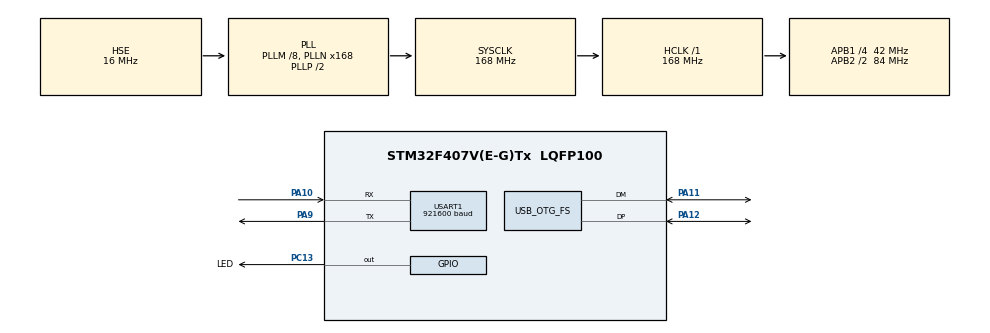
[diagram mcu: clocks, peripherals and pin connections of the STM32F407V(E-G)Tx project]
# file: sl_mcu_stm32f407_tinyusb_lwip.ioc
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Mcu.Family=STM32F4
Mcu.Name=STM32F407V(E-G)Tx
Mcu.Package=LQFP100
NVIC.OTG_FS_IRQn=true\:0\:0\:false\:false\:true\:true\:true\:true
NVIC.PriorityGroup=NVIC_PRIORITYGROUP_4
PA10.Mode=Asynchronous
PA10.Signal=USART1_RX
PA11.Mode=Device_Only
PA11.Signal=USB_OTG_FS_DM
PA12.Mode=Device_Only
PA12.Signal=USB_OTG_FS_DP
PA13.Mode=Trace_Asynchronous_SW
PA13.Signal=SYS_JTMS-SWDIO
PA14.Mode=Trace_Asynchronous_SW
PA14.Signal=SYS_JTCK-SWCLK
PA9.Mode=Asynchronous
PA9.Signal=USART1_TX
PB3.Mode=Trace_Asynchronous_SW
PB3.Signal=SYS_JTDO-SWO
PC13-ANTI_TAMP.GPIO_Label=LED
PC13-ANTI_TAMP.GPIO_ModeDefaultOutputPP=GPIO_MODE_OUTPUT_OD
PC13-ANTI_TAMP.GPIO_PuPd=GPIO_NOPULL
PC13-ANTI_TAMP.PinState=GPIO_PIN_SET
PC13-ANTI_TAMP.Signal=GPIO_Output
PH0-OSC_IN.Mode=HSE-External-Oscillator
PH0-OSC_IN.Signal=RCC_OSC_IN
PH1-OSC_OUT.Mode=HSE-External-Oscillator
PH1-OSC_OUT.Signal=RCC_OSC_OUT
ProjectManager.HeapSize=0x200
ProjectManager.StackSize=0x400
ProjectManager.TargetToolchain=STM32CubeIDE
RCC.48MHZClocksFreq_Value=48000000
RCC.AHBFreq_Value=168000000
RCC.APB1CLKDivider=RCC_HCLK_DIV4
RCC.APB1Freq_Value=42000000
RCC.APB1TimFreq_Value=84000000
RCC.APB2CLKDivider=RCC_HCLK_DIV2
RCC.APB2Freq_Value=84000000
RCC.APB2TimFreq_Value=168000000
RCC.CortexFreq_Value=168000000
RCC.HCLKFreq_Value=168000000
RCC.HSE_VALUE=16000000
RCC.HSI_VALUE=16000000
RCC.LSE_VALUE=32768
RCC.PLLM=8
RCC.PLLN=168
RCC.PLLQ=7
RCC.SYSCLKFreq_VALUE=168000000
RCC.SYSCLKSource=RCC_SYSCLKSOURCE_PLLCLK
RCC.VCOOutputFreq_Value=336000000
USART1.BaudRate=921600
USART1.OverSampling=UART_OVERSAMPLING_8
USART1.VirtualMode=VM_ASYNC
USB_OTG_FS.VirtualMode=Device_Only
board=custom

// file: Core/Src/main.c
/* USER CODE BEGIN Header */
/**
 ******************************************************************************
 * @file           : main.c
 * @brief          : Main program body
 ******************************************************************************
 * @attention
 *
 * Copyright (c) 2026 STM32World <lth@stm32world.com>
 * All rights reserved.
 *
 * This software is licensed under terms that can be found in the LICENSE file
 * in the root directory of this software component.
 * If no LICENSE file comes with this software, it is provided AS-IS.
 *
 ******************************************************************************
 */
/* USER CODE END Header */
#include "main.h"

/* USER CODE BEGIN Includes */
#include <stdio.h>

#include "tusb.h"

#include "lwip/apps/fs.h"
#include "lwip/apps/httpd.h"
#include "lwip/dhcp.h"
#include "lwip/init.h"
#include "lwip/netif.h"
#include "lwip/pbuf.h"
#include "lwip/timeouts.h"
#include "netif/etharp.h"

#include "dhcps.h"

/* USER CODE END Includes */

UART_HandleTypeDef huart1;

PCD_HandleTypeDef hpcd_USB_OTG_FS;

/* USER CODE BEGIN PV */

/* TinyUSB MAC address definition */
uint8_t tud_network_mac_address[6] = { 0x02, 0x00, 0x00, 0x12, 0x34, 0x56 };

static struct netif netif_data;

// Buffer to store generated HTML response
static char http_response_buf[2048];

/* USER CODE END PV */

void SystemClock_Config(void);
static void MX_GPIO_Init(void);
static void MX_USART1_UART_Init(void);
static void MX_USB_OTG_FS_PCD_Init(void);

/* USER CODE BEGIN 0 */

// Send printf to uart1
int __io_putchar(int ch) {
    if (ch == '\n') {
        HAL_UART_Transmit(&huart1, (uint8_t*) "\r", 1, HAL_MAX_DELAY);
    }
    if (HAL_UART_Transmit(&huart1, (uint8_t*) &ch, 1, HAL_MAX_DELAY) != HAL_OK) {
        return -1;
    }
    return ch;
}

uint32_t sys_now(void) {
    return uwTick;
}

/* Callback: Output frame from lwIP down to TinyUSB */
static err_t linkoutput_fn(struct netif *netif, struct pbuf *p) {
    (void) netif;

    // Check if TinyUSB can accept a network packet
    if (!tud_network_can_xmit(p->tot_len)) {
        return ERR_MEM;
    }

    // Allocate buffer and copy payload
    tud_network_xmit(p, 0); // TinyUSB provides zero-copy or callback handling
    return ERR_OK;
}

/* Callback: Called by TinyUSB when lwIP sends packet */
uint16_t tud_network_xmit_cb(uint8_t *dst, void *ref, uint16_t arg) {
    struct pbuf *p = (struct pbuf*) ref;
    return pbuf_copy_partial(p, dst, p->tot_len, 0);
}

/* Init low-level netif hardware interface */
static err_t ip_init_cb(struct netif *netif) {
    netif->linkoutput = linkoutput_fn;
    netif->output = etharp_output;
    netif->mtu = 1500;
    netif->flags = NETIF_FLAG_BROADCAST | NETIF_FLAG_ETHARP | NETIF_FLAG_LINK_UP;

    memcpy(netif->hwaddr, tud_network_mac_address, 6);
    netif->hwaddr_len = 6;
    return ERR_OK;
}

/* Callback: TinyUSB received a packet from Host */
bool tud_network_recv_cb(const uint8_t *src, uint16_t size) {
    if (size == 0)
        return true;

    // Allocate an lwIP pbuf for incoming packet
    struct pbuf *p = pbuf_alloc(PBUF_RAW, size, PBUF_POOL);
    if (p) {
        pbuf_take(p, src, size);
        // Pass packet into lwIP stack
        if (netif_data.input(p, &netif_data) != ERR_OK) {
            pbuf_free(p);
        }
    }
    tud_network_recv_renew(); // Signal TinyUSB to receive next packet
    return true;
}

void tud_network_init_cb(void) {
    // Called when USB Network interface is initialized
}

/* Reads the 96-bit STM32F407 Unique ID register and formats it as a hex string */
static void get_stm32f407_uid_str(char *buf, size_t max_len) {
    uint32_t *uid = (uint32_t*) UID_BASE;
    snprintf(buf, max_len, "%08X%08X%08X", (unsigned int) uid[0], (unsigned int) uid[1], (unsigned int) uid[2]);
}

/* Custom fs_open_custom handler for HTML shell and JSON APIs */
int fs_open_custom(struct fs_file *file, const char *name) {

    // --- LED TOGGLE ENDPOINT: /api/led/toggle ---
    if (strcmp(name, "/api/led/toggle") == 0) {

        HAL_GPIO_TogglePin(LED_GPIO_Port, LED_Pin);

        GPIO_PinState pin_state = HAL_GPIO_ReadPin(LED_GPIO_Port, LED_Pin);

        int len = snprintf(http_response_buf, sizeof(http_response_buf),
                "{\"status\":\"ok\",\"led\":%d}", pin_state == GPIO_PIN_SET ? 1 : 0);

        memset(file, 0, sizeof(struct fs_file));
        file->data = http_response_buf;
        file->len = len;
        file->index = len;
        file->flags = FS_FILE_FLAGS_CUSTOM;
        return 1;
    }

    // --- JSON API ENDPOINT: /api/stats ---
    if (strcmp(name, "/api/stats") == 0) {
        char id_str[25];
        get_stm32f407_uid_str(id_str, sizeof(id_str));

        uint32_t sys_clk_mhz = SystemCoreClock / 1000000;
        uint32_t uptime_sec = HAL_GetTick() / 1000;

        int len = snprintf(http_response_buf, sizeof(http_response_buf), "{"
                "\"architecture\":\"ARM Cortex-M4F\","
                "\"clock_mhz\":%lu,"
                "\"board_id\":\"%s\","
                "\"uptime_seconds\":%lu"
                "}",
                (unsigned long) sys_clk_mhz,
                id_str,
                (unsigned long) uptime_sec);

        memset(file, 0, sizeof(struct fs_file));
        file->data = http_response_buf;
        file->len = len;
        file->index = len;
        file->flags = FS_FILE_FLAGS_CUSTOM;
        return 1;
    }

    // --- HTML WEB PAGE: Dynamic Shell with LED Control Button ---
    if (strcmp(name, "/index.html") == 0 || strcmp(name, "/") == 0) {
        int len = snprintf(http_response_buf, sizeof(http_response_buf),
                "<!DOCTYPE html><html><head><title>STM32 Info</title>"
                "<style>"
                "body{font-family:sans-serif;margin:40px;background:#1a1a1a;color:#eee}"
                "h1{color:#e6005c}.card{background:#2a2a2a;padding:20px;border-radius:8px;"
                "max-width:500px;box-shadow:0 4px 10px rgba(0,0,0,0.5)}"
                "code{background:#333;padding:2px 6px;border-radius:4px;color:#00ffcc}"
                "button{background:#e6005c;color:#fff;border:none;padding:10px 18px;"
                "font-size:14px;border-radius:4px;cursor:pointer;margin-top:10px;font-weight:bold}"
                "button:hover{background:#ff1a75}"
                "</style>"
                "<script>"
                "async function updateStats(){"
                "try{"
                "let r = await fetch('/api/stats');"
                "let d = await r.json();"
                "document.getElementById('arch').innerText = d.architecture;"
                "document.getElementById('clk').innerText = d.clock_mhz + ' MHz';"
                "document.getElementById('id').innerText = d.board_id;"
                "document.getElementById('up').innerText = d.uptime_seconds + ' s';"
                "}catch(e){console.error(e);}"
                "}"
                "async function toggleLed(){"
                "try{"
                "await fetch('/api/led/toggle');"
                "}catch(e){console.error(e);}"
                "}"
                "window.onload = () => {"
                "updateStats();"
                "setInterval(updateStats, 1000);"
                "};"
                "</script></head><body>"
                "<div class='card'><h1>STM32 System Info</h1>"
                "<p><b>Architecture:</b> <span id='arch'>Loading...</span></p>"
                "<p><b>System Clock:</b> <span id='clk'>Loading...</span></p>"
                "<p><b>Unique Board ID:</b> <code id='id'>Loading...</code></p>"
                "<p><b>System Uptime:</b> <span id='up'>Loading...</span></p>"
                "<button onclick='toggleLed()'>Toggle LED</button>"
                "</div></body></html>");

        memset(file, 0, sizeof(struct fs_file));
        file->data = http_response_buf;
        file->len = len;
        file->index = len;
        file->flags = FS_FILE_FLAGS_CUSTOM;
        return 1;
    }

    return 0; // Fallback for unhandled paths
}

void fs_close_custom(struct fs_file *file) {
    (void) file;
}

/* USER CODE END 0 */

int main(void)
{

    /* MCU Configuration--------------------------------------------------------*/

    /* Reset of all peripherals, Initializes the Flash interface and the Systick. */
    HAL_Init();

    /* Configure the system clock */
    SystemClock_Config();

    /* Initialize all configured peripherals */
    MX_GPIO_Init();
    MX_USART1_UART_Init();
    MX_USB_OTG_FS_PCD_Init();
    /* USER CODE BEGIN 2 */

    printf("\n\n\n--------\nStarting USB Networking Example\n");

    // Initialize the TinyUSB Device stack
    tusb_init();

    lwip_init();

    // Setup network interface IP for RP2350 (192.168.7.1)
    ip4_addr_t ipaddr, netmask, gw;
    IP4_ADDR(&ipaddr, 192, 168, 10, 1);
    IP4_ADDR(&netmask, 255, 255, 255, 0);
    IP4_ADDR(&gw, 192, 168, 10, 1);

    netif_add(&netif_data, &ipaddr, &netmask, &gw, NULL, ip_init_cb, netif_input);
    netif_set_default(&netif_data);
    netif_set_up(&netif_data);

    // Initialize DHCP Server!
    dhcps_init(&ipaddr, &netmask);

    // Initialize HTTP Server
    httpd_init();

    /* USER CODE END 2 */

    /* Infinite loop */
    /* USER CODE BEGIN WHILE */

    register uint32_t now = 0, loop_cnt = 0, next_blink = 500, next_tick = 1000;

    while (1) {

        now = uwTick;

//        if (now >= next_blink) {
//            HAL_GPIO_TogglePin(LED_GPIO_Port, LED_Pin);
//            next_blink += 500;
//        }

        if (now >= next_tick) {

            printf("Tick %lu (loop = %lu)\n", now / 1000, loop_cnt);

            loop_cnt = 0;
            next_tick = now + 1000;
        }

        tud_task();

        ++loop_cnt;

        /* USER CODE END WHILE */

    }
}

void SystemClock_Config(void)
{
    RCC_OscInitTypeDef RCC_OscInitStruct = { 0 };
    RCC_ClkInitTypeDef RCC_ClkInitStruct = { 0 };

    /** Configure the main internal regulator output voltage
     */
    __HAL_RCC_PWR_CLK_ENABLE();
    __HAL_PWR_VOLTAGESCALING_CONFIG(PWR_REGULATOR_VOLTAGE_SCALE1);

    /** Initializes the RCC Oscillators according to the specified parameters
     * in the RCC_OscInitTypeDef structure.
     */
    RCC_OscInitStruct.OscillatorType = RCC_OSCILLATORTYPE_HSE;
    RCC_OscInitStruct.HSEState = RCC_HSE_ON;
    RCC_OscInitStruct.PLL.PLLState = RCC_PLL_ON;
    RCC_OscInitStruct.PLL.PLLSource = RCC_PLLSOURCE_HSE;
    RCC_OscInitStruct.PLL.PLLM = 8;
    RCC_OscInitStruct.PLL.PLLN = 168;
    RCC_OscInitStruct.PLL.PLLP = RCC_PLLP_DIV2;
    RCC_OscInitStruct.PLL.PLLQ = 7;
    if (HAL_RCC_OscConfig(&RCC_OscInitStruct) != HAL_OK)
            {
        Error_Handler();
    }

    /** Initializes the CPU, AHB and APB buses clocks
     */
    RCC_ClkInitStruct.ClockType = RCC_CLOCKTYPE_HCLK | RCC_CLOCKTYPE_SYSCLK
            | RCC_CLOCKTYPE_PCLK1 | RCC_CLOCKTYPE_PCLK2;
    RCC_ClkInitStruct.SYSCLKSource = RCC_SYSCLKSOURCE_PLLCLK;
    RCC_ClkInitStruct.AHBCLKDivider = RCC_SYSCLK_DIV1;
    RCC_ClkInitStruct.APB1CLKDivider = RCC_HCLK_DIV4;
    RCC_ClkInitStruct.APB2CLKDivider = RCC_HCLK_DIV2;

    if (HAL_RCC_ClockConfig(&RCC_ClkInitStruct, FLASH_LATENCY_5) != HAL_OK)
            {
        Error_Handler();
    }
}

static void MX_USART1_UART_Init(void)
{

    huart1.Instance = USART1;
    huart1.Init.BaudRate = 921600;
    huart1.Init.WordLength = UART_WORDLENGTH_8B;
    huart1.Init.StopBits = UART_STOPBITS_1;
    huart1.Init.Parity = UART_PARITY_NONE;
    huart1.Init.Mode = UART_MODE_TX_RX;
    huart1.Init.HwFlowCtl = UART_HWCONTROL_NONE;
    huart1.Init.OverSampling = UART_OVERSAMPLING_8;
    if (HAL_UART_Init(&huart1) != HAL_OK)
            {
        Error_Handler();
    }

}

static void MX_USB_OTG_FS_PCD_Init(void)
{

    hpcd_USB_OTG_FS.Instance = USB_OTG_FS;
    hpcd_USB_OTG_FS.Init.dev_endpoints = 4;
    hpcd_USB_OTG_FS.Init.speed = PCD_SPEED_FULL;
    hpcd_USB_OTG_FS.Init.dma_enable = DISABLE;
    hpcd_USB_OTG_FS.Init.phy_itface = PCD_PHY_EMBEDDED;
    hpcd_USB_OTG_FS.Init.Sof_enable = DISABLE;
    hpcd_USB_OTG_FS.Init.low_power_enable = DISABLE;
    hpcd_USB_OTG_FS.Init.lpm_enable = DISABLE;
    hpcd_USB_OTG_FS.Init.vbus_sensing_enable = DISABLE;
    hpcd_USB_OTG_FS.Init.use_dedicated_ep1 = DISABLE;
    if (HAL_PCD_Init(&hpcd_USB_OTG_FS) != HAL_OK)
            {
        Error_Handler();
    }

}

static void MX_GPIO_Init(void)
{
    GPIO_InitTypeDef GPIO_InitStruct = { 0 };

    /* GPIO Ports Clock Enable */
    __HAL_RCC_GPIOC_CLK_ENABLE();
    __HAL_RCC_GPIOH_CLK_ENABLE();
    __HAL_RCC_GPIOA_CLK_ENABLE();
    __HAL_RCC_GPIOB_CLK_ENABLE();

    /*Configure GPIO pin Output Level */
    HAL_GPIO_WritePin(LED_GPIO_Port, LED_Pin, GPIO_PIN_SET);

    /*Configure GPIO pin : LED_Pin */
    GPIO_InitStruct.Pin = LED_Pin;
    GPIO_InitStruct.Mode = GPIO_MODE_OUTPUT_OD;
    GPIO_InitStruct.Pull = GPIO_NOPULL;
    GPIO_InitStruct.Speed = GPIO_SPEED_FREQ_LOW;
    HAL_GPIO_Init(LED_GPIO_Port, &GPIO_InitStruct);

}

void Error_Handler(void)
{
    __disable_irq();
    while (1)
    {
    }
}
